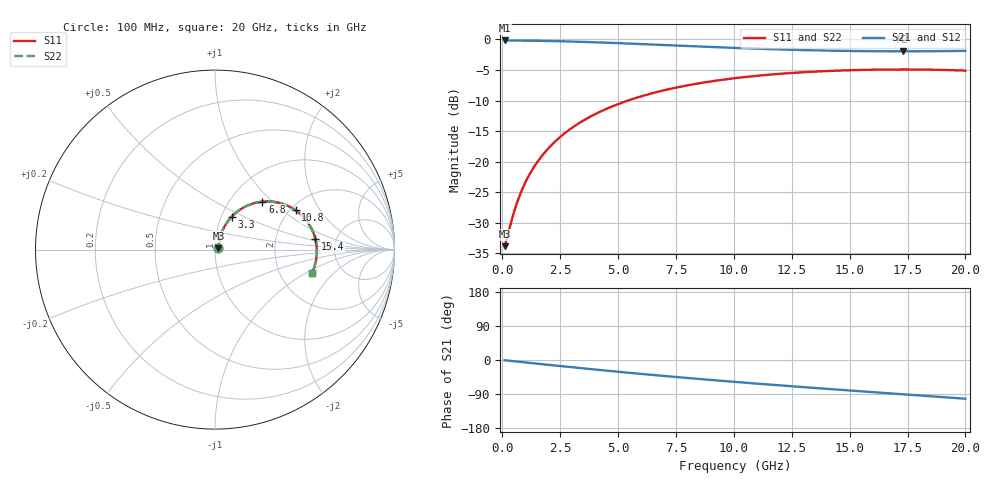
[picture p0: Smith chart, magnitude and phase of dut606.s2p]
! Touchstone file exported from HFSS 2026.1.0
!  File:  C:/ffzhzh/LocalFiles/Ansys_Project_Files/temp_train_TSV_RDL_606_1783122640_50312.aedt
!  Generated:  08:11:26 AM Jul  4, 2026
!  Design:  TSV_RDL
!  Project:  temp_train_TSV_RDL_606_1783122640_50312
! Variables:
!  h_bsmrdl = 2.81um
!  h_ox = 20um
!  h_rdl = 5um
!  h_sub = 92.59um
!  h_tmrdl = 4.77um
!  h_tsv = 92.59um
!  h_via = 3um
!  l_bsmrdl = 139.22um
!  l_sub = 1478.19um
!  l_tmrdl = 123.77um
!  m_sub = 200um
!  pitch = 52.65um
!  r_tsv = 2.09um
!  s_tmrdl = 10um
!  w_bsmrdl = 26.1um
!  w_sub = 500um
!  w_tmrdl = 29.05um
!  x_tsv_center1 = 138.295um
!  x_tsv_center2 = 303.615um
!  x_tsv_center3 = 456.435um
!  x_tsv_center4 = 621.755um
!  x_tsv_center5 = 774.575um
!  x_tsv_center6 = 939.895um
# GHz S MA R 50.000000
! Terminal data exported
! Port[1] = TM_RDL1_1_T1
! Port[2] = TM_RDL5_1_T1
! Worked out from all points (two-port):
!   200 points, 100 MHz to 20 GHz, reference 50 ohm
!   highest |S21| = -0.17 dB at 100 MHz (marker M1); lowest = -1.9 dB at 17.3 GHz (marker M2)
!   |S21| within 3 dB of the highest: start of sweep to end of sweep
!   lowest |S11| = -33.8 dB at 100 MHz (marker M3), VSWR 1.04, Z = 52 + j0.683 ohm
!   |S11| at or under -10 dB: start of sweep to 5.431 GHz
!   |S22| runs from -33.8 to -4.9 dB; largest |S21 - S12| = 1.7e-13
!   S11 on the Smith chart (normalised r, x): 100 MHz: 1.04, +0.01; 3.3 GHz: 1.12, +0.43; 6.8 GHz: 1.40, +0.87; 10.8 GHz: 2.14, +1.25; 15.4 GHz: 3.46, +0.59; 20 GHz: 3.04, -1.13
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0.1  0.02032 18.9  0.9808 -0.7  0.9808 -0.7  0.02032 18.9
! Gamma 0 0 0 0
! Port Impedance 50 0 50 0
0.5  0.03834 55.5  0.9796 -3.2  0.9796 -3.2  0.03834 55.5
0.7  0.04978 61.7  0.9789 -4.5  0.9789 -4.5  0.04978 61.7
1  0.06776 66.2  0.9777 -6.5  0.9777 -6.5  0.06776 66.2
1.3  0.08611 67.9  0.9761 -8.4  0.9761 -8.4  0.08611 67.9
1.7  0.1107 68.4  0.9735 -10.9  0.9735 -10.9  0.1107 68.4
2.2  0.1411 67.4  0.9693 -14.1  0.9693 -14.1  0.1411 67.4
2.7  0.1709 65.7  0.9642 -17.2  0.9642 -17.2  0.1709 65.7
3.3  0.2055 63.1  0.9572 -20.9  0.9572 -20.9  0.2055 63.1
3.5  0.2167 62.1  0.9546 -22.1  0.9546 -22.1  0.2167 62.1
4.2  0.2548 58.7  0.9449 -26.3  0.9449 -26.3  0.2548 58.7
5  0.2956 54.6  0.9327 -31.0  0.9327 -31.0  0.2956 54.6
5.9  0.3378 49.9  0.9181 -36.2  0.9181 -36.2  0.3378 49.9
6.8  0.376 45.3  0.9031 -41.1  0.9031 -41.1  0.376 45.3
8.4  0.4342 37.3  0.8768 -49.6  0.8768 -49.6  0.4342 37.3
10.1  0.483 29.2  0.8514 -58.1  0.8514 -58.1  0.483 29.2
10.8  0.4995 26.0  0.842 -61.4  0.842 -61.4  0.4995 26.0
13.4  0.5441 14.4  0.8148 -73.4  0.8148 -73.4  0.5441 14.4
15.4  0.5623 5.9  0.8029 -82.2  0.8029 -82.2  0.5623 5.9
16.7  0.5672 0.5  0.7995 -87.8  0.7995 -87.8  0.5672 0.5
17.3  0.5677 -2.0  0.7991 -90.4  0.7991 -90.4  0.5677 -2.0
20  0.556 -13.3  0.8066 -102.2  0.8066 -102.2  0.556 -13.3
